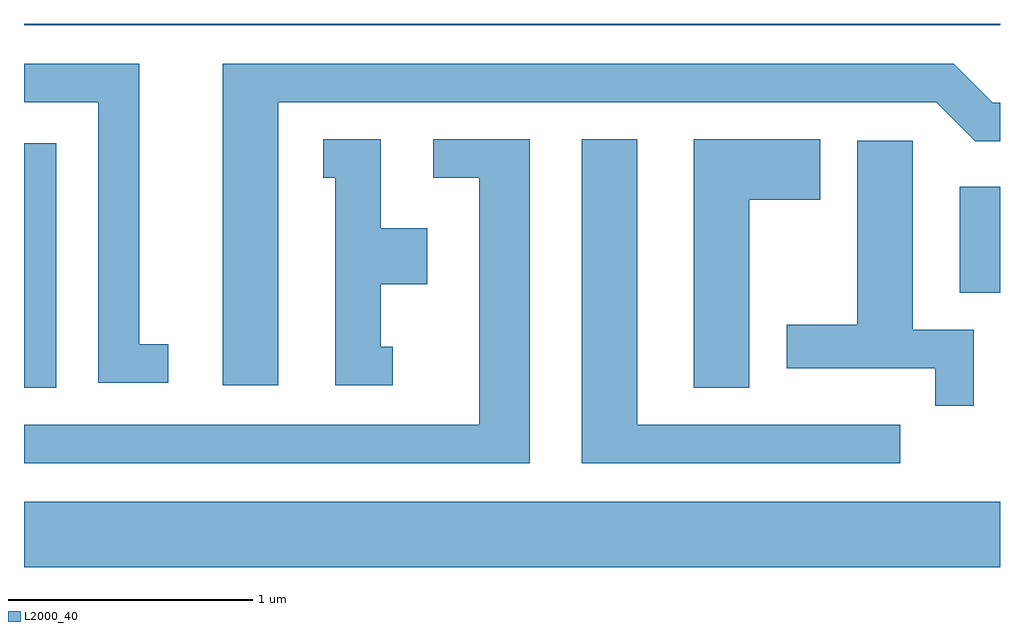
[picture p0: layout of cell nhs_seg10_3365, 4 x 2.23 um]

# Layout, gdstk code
import gdstk
lib = gdstk.Library(unit=1e-6, precision=1e-09)
def R(c, l, rs):  # rectangles x0, y0, x1, y1
    for r in rs: c.add(gdstk.rectangle(r[:2], r[2:], *l))
def P(c, l, *ps):  # polygons
    for p in ps: c.add(gdstk.Polygon(p, *l))
L2000_40 = (2000, 40)

nhs_seg10_3365 = lib.new_cell('nhs_seg10_3365')
R(nhs_seg10_3365, L2000_40, [(283.611,2178.296,287.611,2178.564), (283.611,2179.031,283.744,2180.034), (287.446,2179.421,287.611,2179.854), (283.611,2180.516,287.611,2180.522)])
P(nhs_seg10_3365, L2000_40, [(284.203,2179.209),(284.084,2179.209),(284.084,2180.359),(283.611,2180.359),(283.611,2180.201),(283.916,2180.201),(283.916,2179.051),(284.203,2179.051)],
  [(284.654,2180.201),(287.349,2180.201),(287.509,2180.041),(287.611,2180.041),(287.611,2180.199),(287.582,2180.199),(287.422,2180.359),(284.426,2180.359),(284.426,2179.041),(284.654,2179.041)],
  [(285.684,2180.049),(285.288,2180.049),(285.288,2179.891),(285.476,2179.891),(285.476,2178.879),(283.611,2178.879),(283.611,2178.721),(285.684,2178.721)],
  [(287.203,2178.879),(286.124,2178.879),(286.124,2180.049),(285.896,2180.049),(285.896,2178.721),(287.203,2178.721)],
  [(286.584,2179.801),(286.874,2179.801),(286.874,2180.049),(286.356,2180.049),(286.356,2179.031),(286.584,2179.031)],
  [(285.123,2179.199),(285.074,2179.199),(285.074,2179.456),(285.264,2179.456),(285.264,2179.684),(285.074,2179.684),(285.074,2180.049),(284.838,2180.049),(284.838,2179.891),(284.886,2179.891),(284.886,2179.041),(285.123,2179.041)],
  [(287.504,2179.269),(287.254,2179.269),(287.254,2180.044),(287.026,2180.044),(287.026,2179.289),(286.736,2179.289),(286.736,2179.111),(287.346,2179.111),(287.346,2178.958),(287.504,2178.958)])

lib.write_gds('nhs_seg10_3365.gds')
